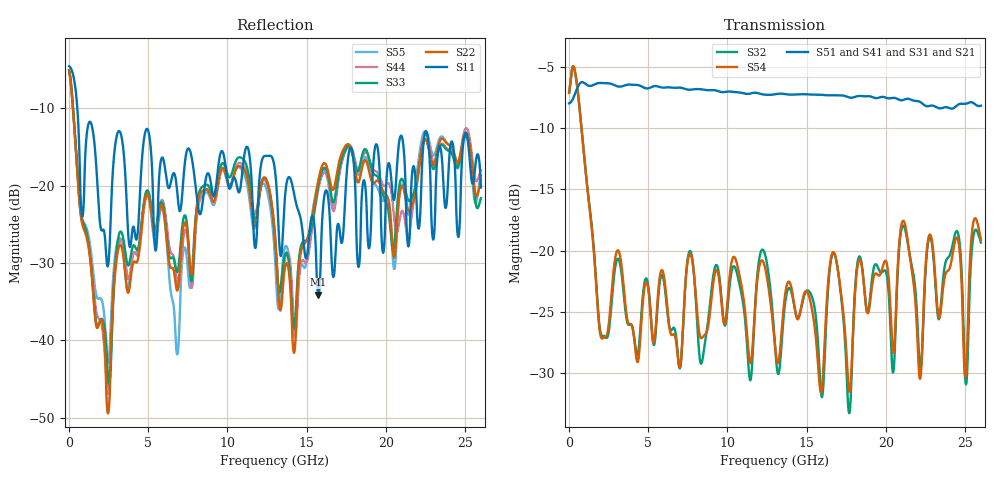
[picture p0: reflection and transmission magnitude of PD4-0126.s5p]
! MARKI MICROWAVE INC.
! Email:  info@markimicrowave.com  Phone:  408-778-4200
! Model Number:  PD4-0126  Date:  11/12
! Filename:		PD4_0126.S5P  Version: 1.0
! Description:  5-port S-parameter data for 4 Way Power Divider PD4-0126
! Frequency Range: 	10 MHz to 26 GHz
! Port Configuration:	PORT 1: COMMON
!  PORT 2: Output 1
!  Port 3: Output 2
!  Port 4: Output 3
!  Port 5: Output 4
! S5P File: Measurements: Mag<S11> Ang<S11> Mag<S12> Ang<S12> Mag<S13> Ang<S13> Mag<S14> Ang<S14> ! row 1
!  Mag<S15> Ang<S15>
!  Mag<S21> Ang<S21> Mag<S22> Ang<S22> Mag<S23> Ang<S23> Mag<S24> Ang<S24> ! row 2
!  Mag<S25> Ang<S25>
!  Mag<S31> Ang<S31> Mag<S32> Ang<S32> Mag<S33> Ang<S33> Mag<S34> Ang<S34> ! row 3
!  Mag<S35> Ang<S35>
!  Mag<S41> Ang<S41> Mag<S42> Ang<S42> Mag<S43> Ang<S43> Mag<S44> Ang<S44> ! row 4
!  Mag<S45> Ang<S45>
!  Mag<S51> Ang<S51> Mag<S52> Ang<S52> Mag<S53> Ang<S53> Mag<S54> Ang<S54> ! row 5
!  Mag<S55> Ang<S55>
# GHz S DB R 50
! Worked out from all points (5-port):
!   801 points, 10 MHz to 26 GHz, reference 50 ohm
!   strongest paths, dB at 10 MHz, 6.51 GHz, 13.01 GHz, 19.51 GHz, 26 GHz:
!     S51: -8.0, -6.7, -7.2, -7.5, -8.2
!     S41: -8.0, -6.7, -7.2, -7.6, -8.3
!     S31: -8.0, -6.7, -7.3, -7.7, -8.3
!     S21: -8.0, -6.7, -7.3, -7.7, -8.4
!     S54: -7.1, -26.9, -27.8, -22.0, -19.1
!     S32: -7.1, -26.4, -27.8, -21.4, -19.3
!   lowest |S11| = -34.1 dB at 15.74 GHz (marker M1), VSWR 1.04, Z = 51.2 - j1.59 ohm
!   |S11| at or under -10 dB: 528 MHz to end of sweep
